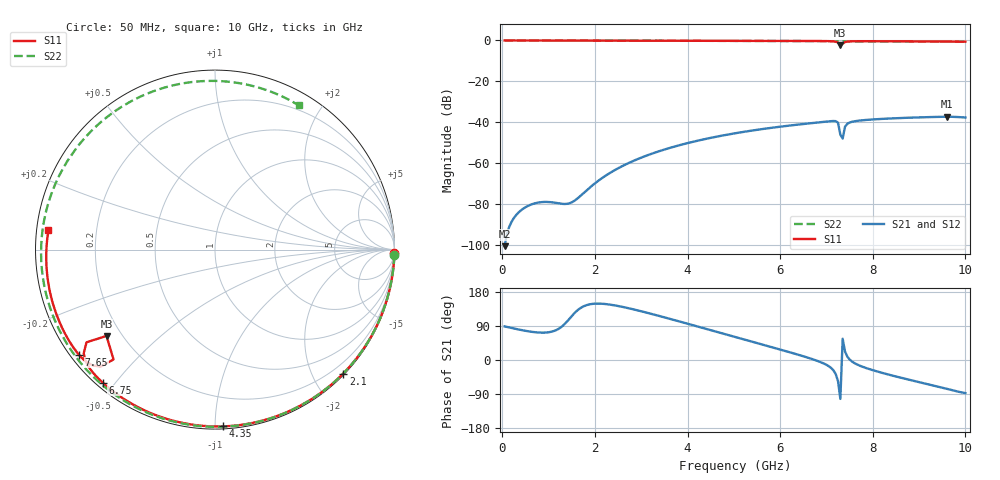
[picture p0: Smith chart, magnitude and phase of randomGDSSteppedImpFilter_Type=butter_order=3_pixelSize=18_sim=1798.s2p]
! freq	dB(S11)	phase(S11)	dB(S12)	phase(S12)
!  dB(S21)	phase(S21)	dB(S22)	phase(S22)
!S-par simulation data
#  GHz  S  DB  R 50
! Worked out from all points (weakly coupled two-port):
!   200 points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, 50 MHz to 10 GHz, reference 50 ohm
!   highest |S21| = -37.29 dB at 9.6 GHz (marker M1); lowest = -100.6 dB at 50 MHz (marker M2)
!   lowest |S11| = -2.2 dB at 7.3 GHz (marker M3), VSWR 7.79, Z = 7.19 - j17.1 ohm
!   |S11| at or under -10 dB: nowhere
!   |S22| runs from -0.6 to 0.0 dB; largest |S21 - S12| = 0
!   S11 on the Smith chart (normalised r, x): 50 MHz: open; 2.1 GHz: 0.02, -2.47; 4.35 GHz: 0.01, -1.05; 6.75 GHz: 0.02, -0.46; 7.65 GHz: 0.02, -0.34; 10 GHz: 0.03, +0.06
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0.05  -0.00 -1.1  -100.55 88.6  -100.55 88.6  -0.00 -1.8
0.7  -0.02 -14.9  -79.63 73.4  -79.63 73.4  -0.03 -24.7
1.4  -0.04 -29.6  -79.85 101.8  -79.85 101.8  -0.06 -48.7
1.75  -0.05 -36.9  -74.70 141.4  -74.70 141.4  -0.07 -60.2
2.1  -0.06 -44.0  -68.14 148.8  -68.14 148.8  -0.09 -71.4
2.65  -0.07 -55.0  -60.75 138.8  -60.75 138.8  -0.11 -88.3
3.4  -0.09 -69.6  -54.04 115.9  -54.04 115.9  -0.13 -110.1
4.35  -0.12 -87.4  -48.33 83.9  -48.33 83.9  -0.17 -135.9
5.05  -0.15 -100.0  -45.28 60.0  -45.28 60.0  -0.21 -154.2
5.9  -0.20 -115.0  -42.44 31.1  -42.44 31.1  -0.26 -176.2
6.7  -0.26 -129.3  -40.36 2.1  -40.36 2.1  -0.32 162.7
6.75  -0.26 -130.2  -40.24 0.1  -40.24 0.1  -0.33 161.4
7.2  -0.61 -141.7  -39.44 -37.1  -39.44 -37.1  -0.36 149.1
7.25  -1.08 -144.2  -40.20 -56.1  -40.20 -56.1  -0.37 147.7
7.3  -2.24 -141.5  -46.05 -102.7  -46.05 -102.7  -0.38 146.3
7.35  -1.59 -132.7  -47.95 56.2  -47.95 56.2  -0.38 144.9
7.4  -0.81 -134.3  -42.19 22.7  -42.19 22.7  -0.38 143.5
7.45  -0.55 -136.6  -40.74 9.1  -40.74 9.1  -0.38 142.1
7.65  -0.37 -142.3  -39.34 -11.2  -39.34 -11.2  -0.40 136.4
8.35  -0.40 -155.6  -38.16 -38.8  -38.16 -38.8  -0.46 115.4
9.6  -0.53 -178.6  -37.29 -76.0  -37.29 -76.0  -0.59 74.1
10  -0.59 173.4  -37.66 -87.3  -37.66 -87.3  -0.64 59.9
